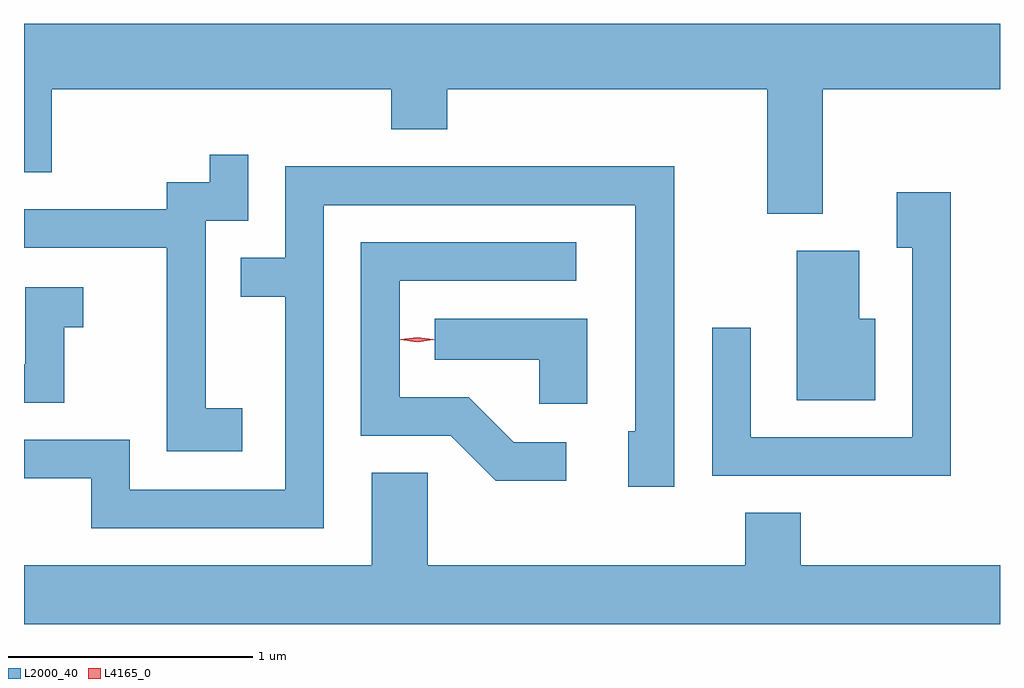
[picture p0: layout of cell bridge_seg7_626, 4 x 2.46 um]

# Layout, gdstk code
import gdstk
lib = gdstk.Library(unit=1e-6, precision=1e-09)
def P(c, l, *ps):  # polygons
    for p in ps: c.add(gdstk.Polygon(p, *l))
L2000_40 = (2000, 40)
L4165_0 = (4165, 0)

bridge_seg7_626 = lib.new_cell('bridge_seg7_626')
P(bridge_seg7_626, L2000_40, [(680.439,1696.556),(681.165,1696.556),(681.165,1696.824),(677.165,1696.824),(677.165,1696.216),(677.279,1696.216),(677.279,1696.556),(678.671,1696.556),(678.671,1696.391),(678.899,1696.391),(678.899,1696.556),(680.211,1696.556),(680.211,1696.046),(680.439,1696.046)],
  [(678.059,1695.249),(677.909,1695.249),(677.909,1696.016),(678.084,1696.016),(678.084,1696.288),(677.926,1696.288),(677.926,1696.174),(677.751,1696.174),(677.751,1696.064),(677.165,1696.064),(677.165,1695.906),(677.751,1695.906),(677.751,1695.071),(678.059,1695.071)],
  [(678.394,1696.081),(679.671,1696.081),(679.671,1695.154),(679.641,1695.154),(679.641,1694.926),(679.829,1694.926),(679.829,1696.239),(678.236,1696.239),(678.236,1695.864),(678.053,1695.864),(678.053,1695.706),(678.236,1695.706),(678.236,1694.914),(677.599,1694.914),(677.599,1695.119),(677.165,1695.119),(677.165,1694.961),(677.441,1694.961),(677.441,1694.756),(678.394,1694.756)],
  [(680.964,1696.134),(680.741,1696.134),(680.741,1695.906),(680.806,1695.906),(680.806,1695.129),(680.144,1695.129),(680.144,1695.578),(679.986,1695.578),(679.986,1694.971),(680.964,1694.971)],
  [(679.388,1695.109),(679.172,1695.109),(678.987,1695.294),(678.704,1695.294),(678.704,1695.771),(679.428,1695.771),(679.428,1695.929),(678.546,1695.929),(678.546,1695.136),(678.914,1695.136),(679.099,1694.951),(679.388,1694.951)],
  [(680.654,1695.614),(680.589,1695.614),(680.589,1695.894),(680.331,1695.894),(680.331,1695.281),(680.654,1695.281)],
  [(677.329,1695.581),(677.408,1695.581),(677.408,1695.744),(677.171,1695.744),(677.171,1695.429),(677.165,1695.429),(677.165,1695.271),(677.329,1695.271)],
  [(679.474,1695.614),(678.848,1695.614),(678.848,1695.446),(679.276,1695.446),(679.276,1695.266),(679.474,1695.266)],
  [(681.165,1694.604),(680.349,1694.604),(680.349,1694.819),(680.121,1694.819),(680.121,1694.604),(678.819,1694.604),(678.819,1694.984),(678.591,1694.984),(678.591,1694.604),(677.165,1694.604),(677.165,1694.363),(681.165,1694.363)])
P(bridge_seg7_626, L4165_0, [(678.776,1695.518),(678.707,1695.528),(678.707,1695.528),(678.707,1695.529),(678.776,1695.538),(678.845,1695.529),(678.846,1695.528),(678.845,1695.528)],
  [(678.776,1695.519),(678.71,1695.528),(678.709,1695.529),(678.71,1695.53),(678.776,1695.539),(678.842,1695.53),(678.843,1695.529),(678.842,1695.528)])

lib.write_gds('bridge_seg7_626.gds')
